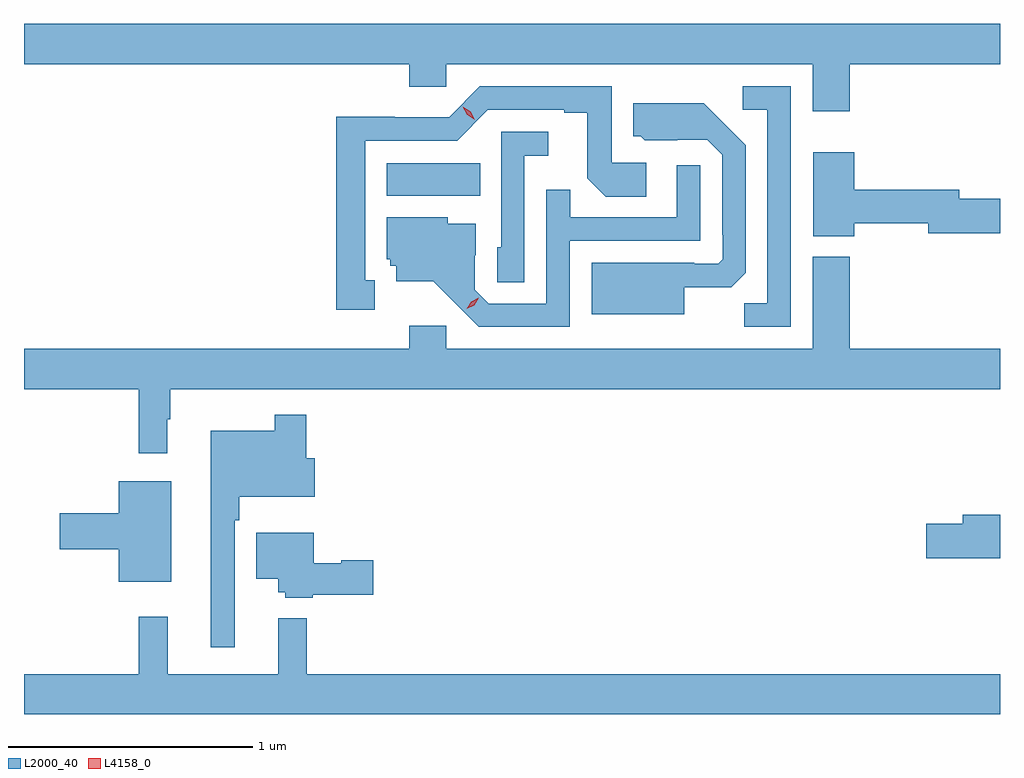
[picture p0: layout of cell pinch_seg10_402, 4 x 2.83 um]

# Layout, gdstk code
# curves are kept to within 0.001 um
import gdstk
lib = gdstk.Library(unit=1e-6, precision=1e-09)
def R(c, l, rs):  # rectangles x0, y0, x1, y1
    for r in rs: c.add(gdstk.rectangle(r[:2], r[2:], *l))
def P(c, l, *ps):  # polygons
    for p in ps: c.add(gdstk.Polygon(p, *l))
L2000_40 = (2000, 40)
L4158_0 = (4158, 0)

pinch_seg10_402 = lib.new_cell('pinch_seg10_402')
R(pinch_seg10_402, L2000_40, [(389.564,1314.428,389.948,1314.562)])
P(pinch_seg10_402, L2000_40, [(391.463,1314.968),(392.078,1314.968),(392.078,1315.132),(388.078,1315.132),(388.078,1314.968),(389.657,1314.968),(389.657,1314.875),(389.808,1314.875),(389.808,1314.968),(391.31,1314.968),(391.31,1314.774),(391.463,1314.774)],
  [(391.221,1314.876),(391.023,1314.876),(391.023,1314.78),(391.125,1314.78),(391.125,1313.987),(391.03,1313.987),(391.03,1313.892),(391.221,1313.892)],
  [(389.515,1314.081),(389.476,1314.081),(389.476,1314.654),(389.853,1314.654),(389.979,1314.78),(390.293,1314.78),(390.293,1314.768),(390.387,1314.768),(390.387,1314.5),(390.463,1314.424),(390.628,1314.424),(390.628,1314.564),(390.486,1314.564),(390.486,1314.876),(389.946,1314.876),(389.82,1314.75),(389.598,1314.75),(389.598,1314.752),(389.358,1314.752),(389.358,1313.961),(389.515,1313.961)],
  [(390.784,1314.053),(390.976,1314.053),(391.035,1314.112),(391.035,1314.634),(390.863,1314.808),(390.575,1314.808),(390.575,1314.672),(390.606,1314.672),(390.622,1314.656),(390.879,1314.657),(390.939,1314.597),(390.939,1314.268),(390.942,1314.268),(390.942,1314.168),(390.924,1314.15),(390.824,1314.15),(390.824,1314.154),(390.404,1314.154),(390.404,1313.942),(390.784,1313.942)],
  [(390.129,1314.593),(390.226,1314.593),(390.226,1314.69),(390.033,1314.69),(390.033,1314.216),(390.018,1314.216),(390.018,1314.073),(390.129,1314.073)],
  [(391.48,1314.316),(391.784,1314.316),(391.784,1314.274),(392.078,1314.274),(392.078,1314.416),(391.912,1314.416),(391.912,1314.452),(391.48,1314.452),(391.48,1314.607),(391.313,1314.607),(391.313,1314.263),(391.48,1314.263)],
  [(390.315,1314.243),(390.849,1314.243),(390.849,1314.553),(390.753,1314.553),(390.753,1314.339),(390.317,1314.339),(390.317,1314.452),(390.219,1314.452),(390.219,1313.985),(389.982,1313.985),(389.925,1314.042),(389.925,1314.184),(389.929,1314.184),(389.929,1314.313),(389.814,1314.313),(389.814,1314.34),(389.564,1314.34),(389.564,1314.168),(389.58,1314.168),(389.58,1314.141),(389.603,1314.141),(389.603,1314.077),(389.755,1314.077),(389.942,1313.892),(390.315,1313.892)],
  [(388.666,1313.513),(388.678,1313.513),(388.678,1313.636),(392.078,1313.636),(392.078,1313.8),(391.463,1313.8),(391.463,1314.178),(391.31,1314.178),(391.31,1313.8),(389.808,1313.8),(389.808,1313.896),(389.657,1313.896),(389.657,1313.8),(388.078,1313.8),(388.078,1313.636),(388.549,1313.636),(388.549,1313.373),(388.666,1313.373)],
  [(388.941,1313.099),(388.961,1313.099),(388.961,1313.195),(389.269,1313.195),(389.269,1313.353),(389.234,1313.353),(389.234,1313.53),(389.106,1313.53),(389.106,1313.464),(388.844,1313.464),(388.844,1312.578),(388.941,1312.578)],
  [(388.681,1313.257),(388.466,1313.257),(388.466,1313.126),(388.224,1313.126),(388.224,1312.979),(388.466,1312.979),(388.466,1312.847),(388.681,1312.847)],
  [(392.078,1313.12),(391.925,1313.12),(391.925,1313.084),(391.776,1313.084),(391.776,1312.942),(392.078,1312.942)],
  [(389.262,1312.792),(389.509,1312.792),(389.509,1312.934),(389.379,1312.934),(389.379,1312.921),(389.266,1312.921),(389.266,1313.047),(389.03,1313.047),(389.03,1312.859),(389.12,1312.859),(389.12,1312.803),(389.148,1312.803),(389.148,1312.781),(389.262,1312.781)],
  [(392.078,1312.468),(389.237,1312.468),(389.237,1312.696),(389.12,1312.696),(389.12,1312.468),(388.667,1312.468),(388.667,1312.702),(388.549,1312.702),(388.549,1312.468),(388.078,1312.468),(388.078,1312.304),(392.078,1312.304)])
P(pinch_seg10_402, L4158_0, [(389.892,1313.965),(389.892,1313.965),(389.91,1313.994),(389.941,1314.009),(389.942,1314.009),(389.942,1314.009),(389.924,1313.98),(389.893,1313.965)],
  [(389.925,1314.74),(389.894,1314.759),(389.877,1314.792),(389.877,1314.792),(389.877,1314.792),(389.909,1314.773),(389.926,1314.74),(389.926,1314.74)])

lib.write_gds('pinch_seg10_402.gds')
